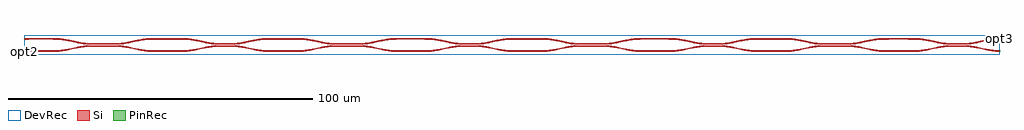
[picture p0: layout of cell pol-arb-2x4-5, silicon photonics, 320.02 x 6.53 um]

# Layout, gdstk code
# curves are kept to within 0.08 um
import gdstk
lib = gdstk.Library(unit=1e-6, precision=1e-09)
def R(c, l, rs):  # rectangles x0, y0, x1, y1
    for r in rs: c.add(gdstk.rectangle(r[:2], r[2:], *l))
def P(c, l, *ps):  # polygons
    for p in ps: c.add(gdstk.Polygon(p, *l))
Si = (1, 0)
PinRec = (1, 10)
DevRec = (68, 0)

layer_0_0_phase_sec_0 = lib.new_cell('layer-0_0_phase_sec_0')
P(layer_0_0_phase_sec_0, Si, [(0,-0.225),(0,0.225),(10,0.225),(10,-0.225)])

layer_0_0_phase_sec_1 = lib.new_cell('layer-0_0_phase_sec_1')
P(layer_0_0_phase_sec_1, Si, [(7.923,-0.226),(0,-0.225),(0,0.225),(10,0.225),(10,-0.225)])

dc_arm_up_8 = lib.new_cell('dc_arm_up_8')
R(dc_arm_up_8, Si, [(12,0.1,20,0.55)])
P(dc_arm_up_8, Si, [(12,0.1),(10.861,0.137),(9.344,0.292),(2.966,1.532),(1.481,1.712),(0,1.775),(0,2.225),(1.139,2.188),(2.656,2.033),(9.034,0.793),(10.519,0.613),(12,0.55)],
  [(20,0.1),(20,0.55),(21.481,0.613),(22.966,0.793),(29.344,2.033),(30.861,2.188),(32,2.225),(32,1.775),(30.519,1.712),(29.034,1.532),(22.656,0.292),(21.139,0.137)])

dc_arm_down_8 = lib.new_cell('dc_arm_down_8')
R(dc_arm_down_8, Si, [(12,-0.55,20,-0.1)])
P(dc_arm_down_8, Si, [(0,-2.225),(0,-1.775),(1.481,-1.712),(2.966,-1.532),(9.344,-0.292),(10.861,-0.137),(12,-0.1),(12,-0.55),(10.519,-0.613),(9.034,-0.793),(2.656,-2.033),(1.139,-2.188)],
  [(32,-2.225),(30.861,-2.188),(29.344,-2.033),(22.966,-0.793),(21.481,-0.613),(20,-0.55),(20,-0.1),(21.139,-0.137),(22.656,-0.292),(29.034,-1.532),(30.519,-1.712),(32,-1.775)])

dc_8 = lib.new_cell('dc_8')
dc_8.add(gdstk.Reference(dc_arm_up_8, (0,0)))
dc_8.add(gdstk.Reference(dc_arm_down_8, (0,0)))

layer_0_0_phase_sec_2 = lib.new_cell('layer-0_0_phase_sec_2')
P(layer_0_0_phase_sec_2, Si, [(6.358,-0.24),(0,-0.225),(0,0.225),(10,0.225),(10,-0.225)])

layer_0_0_phase_sec_3 = lib.new_cell('layer-0_0_phase_sec_3')
P(layer_0_0_phase_sec_3, Si, [(0,-0.225),(0,0.225),(10,0.225),(10,-0.225)])

dc_arm_up_4 = lib.new_cell('dc_arm_up_4')
R(dc_arm_up_4, Si, [(12,0.1,16,0.55)])
P(dc_arm_up_4, Si, [(12,0.1),(10.861,0.137),(9.344,0.292),(2.966,1.532),(1.481,1.712),(0,1.775),(0,2.225),(1.139,2.188),(2.656,2.033),(9.034,0.793),(10.519,0.613),(12,0.55)],
  [(16,0.1),(16,0.55),(17.481,0.613),(18.966,0.793),(25.344,2.033),(26.861,2.188),(28,2.225),(28,1.775),(26.519,1.712),(25.034,1.532),(18.656,0.292),(17.139,0.137)])

dc_arm_down_4 = lib.new_cell('dc_arm_down_4')
R(dc_arm_down_4, Si, [(12,-0.55,16,-0.1)])
P(dc_arm_down_4, Si, [(0,-2.225),(0,-1.775),(1.481,-1.712),(2.966,-1.532),(9.344,-0.292),(10.861,-0.137),(12,-0.1),(12,-0.55),(10.519,-0.613),(9.034,-0.793),(2.656,-2.033),(1.139,-2.188)],
  [(28,-2.225),(26.861,-2.188),(25.344,-2.033),(18.966,-0.793),(17.481,-0.613),(16,-0.55),(16,-0.1),(17.139,-0.137),(18.656,-0.292),(25.034,-1.532),(26.519,-1.712),(28,-1.775)])

dc_4 = lib.new_cell('dc_4')
dc_4.add(gdstk.Reference(dc_arm_up_4, (0,0)))
dc_4.add(gdstk.Reference(dc_arm_down_4, (0,0)))

layer_1_0_phase_sec_0 = lib.new_cell('layer-1_0_phase_sec_0')
P(layer_1_0_phase_sec_0, Si, [(1.585,-0.243),(0,-0.225),(0,0.225),(10,0.225),(10,-0.225)])

layer_1_0_phase_sec_1 = lib.new_cell('layer-1_0_phase_sec_1')
P(layer_1_0_phase_sec_1, Si, [(0,-0.225),(0,0.225),(10,0.225),(10,-0.225)])

layer_1_0_phase_sec_2 = lib.new_cell('layer-1_0_phase_sec_2')
P(layer_1_0_phase_sec_2, Si, [(0,-0.225),(0,0.225),(10,0.225),(10,-0.225)])

layer_1_0_phase_sec_3 = lib.new_cell('layer-1_0_phase_sec_3')
P(layer_1_0_phase_sec_3, Si, [(4.829,-0.282),(0,-0.225),(0,0.225),(4.829,0.282),(10,0.225),(10,-0.225)])

layer_2_0_phase_sec_0 = lib.new_cell('layer-2_0_phase_sec_0')
P(layer_2_0_phase_sec_0, Si, [(4.752,-0.233),(0,-0.225),(0,0.225),(10,0.225),(10,-0.225)])

layer_2_0_phase_sec_1 = lib.new_cell('layer-2_0_phase_sec_1')
P(layer_2_0_phase_sec_1, Si, [(0,-0.225),(0,0.225),(10,0.225),(10,-0.225)])

layer_2_0_phase_sec_2 = lib.new_cell('layer-2_0_phase_sec_2')
P(layer_2_0_phase_sec_2, Si, [(0,-0.225),(0,0.225),(10,0.225),(10,-0.225)])

layer_2_0_phase_sec_3 = lib.new_cell('layer-2_0_phase_sec_3')
P(layer_2_0_phase_sec_3, Si, [(6.385,-0.254),(0,-0.225),(0,0.225),(10,0.225),(10,-0.225)])

layer_3_0_phase_sec_0 = lib.new_cell('layer-3_0_phase_sec_0')
P(layer_3_0_phase_sec_0, Si, [(1.589,-0.243),(0,-0.225),(0,0.225),(10,0.225),(10,-0.225)])

layer_3_0_phase_sec_1 = lib.new_cell('layer-3_0_phase_sec_1')
P(layer_3_0_phase_sec_1, Si, [(0,-0.225),(0,0.225),(10,0.225),(10,-0.225)])

layer_3_0_phase_sec_2 = lib.new_cell('layer-3_0_phase_sec_2')
P(layer_3_0_phase_sec_2, Si, [(0,-0.225),(0,0.225),(10,0.225),(10,-0.225)])

layer_3_0_phase_sec_3 = lib.new_cell('layer-3_0_phase_sec_3')
P(layer_3_0_phase_sec_3, Si, [(3.161,-0.227),(0,-0.225),(0,0.225),(10,0.225),(10,-0.225)])

pol_arb_2x4_5 = lib.new_cell('pol-arb-2x4-5')
R(pol_arb_2x4_5, DevRec, [(0,-1,320,5.525)])
pol_arb_2x4_5.add(gdstk.FlexPath([(0.01,0.282),(-0.01,0.282)], 0.45, ends="flush", simple_path=True, layer=1, datatype=10))  # PinRec
pol_arb_2x4_5.add(gdstk.FlexPath([(0.01,4.282),(-0.01,4.282)], 0.45, ends="flush", simple_path=True, layer=1, datatype=10))  # PinRec
pol_arb_2x4_5.add(gdstk.FlexPath([(319.99,4.282),(320.01,4.282)], 0.45, ends="flush", simple_path=True, layer=1, datatype=10))  # PinRec
pol_arb_2x4_5.add(gdstk.FlexPath([(319.99,0.282),(320.01,0.282)], 0.45, ends="flush", simple_path=True, layer=1, datatype=10))  # PinRec
pol_arb_2x4_5.add(gdstk.Reference(layer_0_0_phase_sec_0, (0,4.282)))
pol_arb_2x4_5.add(gdstk.Reference(layer_0_0_phase_sec_1, (0,0.282)))
pol_arb_2x4_5.add(gdstk.Reference(dc_8, (10,2.282)))
pol_arb_2x4_5.add(gdstk.Reference(layer_0_0_phase_sec_2, (42,4.282)))
pol_arb_2x4_5.add(gdstk.Reference(layer_0_0_phase_sec_3, (42,0.282)))
pol_arb_2x4_5.add(gdstk.Reference(dc_4, (52,2.282)))
pol_arb_2x4_5.add(gdstk.Reference(layer_1_0_phase_sec_0, (80,4.282)))
pol_arb_2x4_5.add(gdstk.Reference(layer_1_0_phase_sec_1, (80,0.282)))
pol_arb_2x4_5.add(gdstk.Reference(dc_8, (90,2.282)))
pol_arb_2x4_5.add(gdstk.Reference(layer_1_0_phase_sec_2, (122,4.282)))
pol_arb_2x4_5.add(gdstk.Reference(layer_1_0_phase_sec_3, (122,0.282)))
pol_arb_2x4_5.add(gdstk.Reference(dc_4, (132,2.282)))
pol_arb_2x4_5.add(gdstk.Reference(layer_2_0_phase_sec_0, (160,4.282)))
pol_arb_2x4_5.add(gdstk.Reference(layer_2_0_phase_sec_1, (160,0.282)))
pol_arb_2x4_5.add(gdstk.Reference(dc_8, (170,2.282)))
pol_arb_2x4_5.add(gdstk.Reference(layer_2_0_phase_sec_2, (202,4.282)))
pol_arb_2x4_5.add(gdstk.Reference(layer_2_0_phase_sec_3, (202,0.282)))
pol_arb_2x4_5.add(gdstk.Reference(dc_4, (212,2.282)))
pol_arb_2x4_5.add(gdstk.Reference(layer_3_0_phase_sec_0, (240,4.282)))
pol_arb_2x4_5.add(gdstk.Reference(layer_3_0_phase_sec_1, (240,0.282)))
pol_arb_2x4_5.add(gdstk.Reference(dc_8, (250,2.282)))
pol_arb_2x4_5.add(gdstk.Reference(layer_3_0_phase_sec_2, (282,4.282)))
pol_arb_2x4_5.add(gdstk.Reference(layer_3_0_phase_sec_3, (282,0.282)))
pol_arb_2x4_5.add(gdstk.Reference(dc_4, (292,2.282)))
pol_arb_2x4_5.add(gdstk.Label('opt2', (0,0.282), layer=1, texttype=10))
pol_arb_2x4_5.add(gdstk.Label('opt1', (0,4.282), layer=1, texttype=10))
pol_arb_2x4_5.add(gdstk.Label('opt3', (320,4.282), layer=1, texttype=10))
pol_arb_2x4_5.add(gdstk.Label('opt4', (320,0.282), layer=1, texttype=10))

lib.write_gds('pol-arb-2x4-5.gds')
